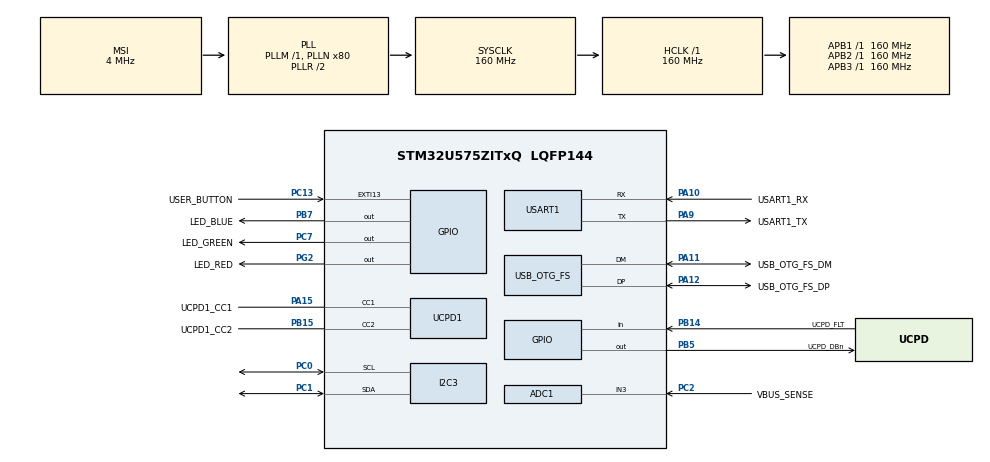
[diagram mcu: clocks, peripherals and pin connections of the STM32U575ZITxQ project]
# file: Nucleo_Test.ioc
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ADC1.NbrOfConversion=1
ADC1.Resolution=ADC_RESOLUTION_14B
ADC1.master=1
CORTEX_M33_NS.userName=CORTEX_M33
I2C3.Timing=0x30909DEC
Mcu.Family=STM32U5
Mcu.Name=STM32U575ZITxQ
Mcu.Package=LQFP144
NVIC.OTG_FS_IRQn=true\:0\:0\:false\:false\:true\:true\:true\:true
NVIC.PriorityGroup=NVIC_PRIORITYGROUP_3
PA10.GPIO_Label=USART1_RX
PA10.GPIO_PuPd=GPIO_PULLDOWN
PA10.GPIO_Speed=GPIO_SPEED_FREQ_VERY_HIGH
PA10.Mode=Asynchronous
PA10.Signal=USART1_RX
PA11.GPIO_Label=USB_OTG_FS_DM
PA11.GPIO_Speed=GPIO_SPEED_FREQ_VERY_HIGH
PA11.Mode=Device_Only
PA11.Signal=USB_OTG_FS_DM
PA12.GPIO_Label=USB_OTG_FS_DP
PA12.GPIO_Speed=GPIO_SPEED_FREQ_VERY_HIGH
PA12.Mode=Device_Only
PA12.Signal=USB_OTG_FS_DP
PA13\ (JTMS/SWDIO).Mode=Trace_Asynchronous_SW
PA13\ (JTMS/SWDIO).Signal=DEBUG_JTMS-SWDIO
PA14\ (JTCK/SWCLK).Mode=Trace_Asynchronous_SW
PA14\ (JTCK/SWCLK).Signal=DEBUG_JTCK-SWCLK
PA15\ (JTDI).GPIO_Label=UCPD1_CC1
PA15\ (JTDI).Mode=Sink_AllSignals
PA15\ (JTDI).Signal=UCPD1_CC1
PA9.GPIO_Label=USART1_TX
PA9.GPIO_PuPd=GPIO_PULLDOWN
PA9.GPIO_Speed=GPIO_SPEED_FREQ_VERY_HIGH
PA9.Mode=Asynchronous
PA9.Signal=USART1_TX
PB14.GPIO_Label=UCPD_FLT
PB14.Signal=GPIO_Input
PB15.GPIO_Label=UCPD1_CC2
PB15.Mode=Sink_AllSignals
PB15.Signal=UCPD1_CC2
PB3\ (JTDO/TRACESWO).Mode=Trace_Asynchronous_SW
PB3\ (JTDO/TRACESWO).Signal=DEBUG_JTDO-SWO
PB5.GPIO_Label=UCPD_DBn
PB5.Signal=GPIO_Output
PB7.GPIO_Label=LED_BLUE
PB7.GPIO_ModeDefaultOutputPP=GPIO_MODE_OUTPUT_PP
PB7.GPIO_PuPd=GPIO_PULLUP
PB7.GPIO_Speed=GPIO_SPEED_FREQ_HIGH
PB7.Signal=GPIO_Output
PC0.Mode=I2C
PC0.Signal=I2C3_SCL
PC1.Mode=I2C
PC1.Signal=I2C3_SDA
PC13.GPIO_Label=USER_BUTTON
PC13.GPIO_ModeDefaultEXTI=GPIO_MODE_IT_FALLING
PC13.Signal=GPXTI13
PC14-OSC32_IN\ (PC14).Mode=LSE-External-Oscillator
PC14-OSC32_IN\ (PC14).Signal=RCC_OSC32_IN
PC15-OSC32_OUT\ (PC15).Mode=LSE-External-Oscillator
PC15-OSC32_OUT\ (PC15).Signal=RCC_OSC32_OUT
PC2.GPIO_Label=VBUS_SENSE
PC2.Mode=IN3-Single-Ended
PC2.Signal=ADC1_IN3
PC7.GPIO_Label=LED_GREEN
PC7.GPIO_PuPd=GPIO_PULLUP
PC7.GPIO_Speed=GPIO_SPEED_FREQ_HIGH
PC7.Signal=GPIO_Output
PG2.GPIO_Label=LED_RED
PG2.GPIO_ModeDefaultOutputPP=GPIO_MODE_OUTPUT_PP
PG2.GPIO_PuPd=GPIO_PULLUP
PG2.GPIO_Speed=GPIO_SPEED_FREQ_HIGH
PG2.Signal=GPIO_Output
PH0-OSC_IN\ (PH0).Mode=HSE-External-Oscillator
PH0-OSC_IN\ (PH0).Signal=RCC_OSC_IN
PH1-OSC_OUT\ (PH1).Mode=HSE-External-Oscillator
PH1-OSC_OUT\ (PH1).Signal=RCC_OSC_OUT
PWR.PowerMode=PWR_SMPS_SUPPLY
ProjectManager.HeapSize=0x200
ProjectManager.StackSize=0x400
ProjectManager.TargetToolchain=STM32CubeIDE
RCC.ADCFreq_Value=16000000
RCC.AHBFreq_Value=160000000
RCC.APB1Freq_Value=160000000
RCC.APB1TimFreq_Value=160000000
RCC.APB2Freq_Value=160000000
RCC.APB2TimFreq_Value=160000000
RCC.APB3Freq_Value=160000000
RCC.CortexFreq_Value=160000000
RCC.DACCLockSelectionVirtual=RCC_DAC1CLKSOURCE_LSI
RCC.EPOD_VALUE=4000000
RCC.HCLKFreq_Value=160000000
RCC.HSE_VALUE=16000000
RCC.HSI48_VALUE=48000000
RCC.HSI_VALUE=16000000
RCC.LSIDIV_VALUE=32000
RCC.MSI_VALUE=4000000
RCC.PLLN=80
RCC.SYSCLKFreq_VALUE=160000000
RCC.SYSCLKSource=RCC_SYSCLKSOURCE_PLLCLK
RCC.USBFreq_Value=48000000
RCC.VCOOutputFreq_Value=320000000
USART1.VirtualMode-Asynchronous=VM_ASYNC
USB_OTG_FS.VirtualMode=Device_Only
VP_ICACHE_VS_ENABLE_ICACHE_MEMORY.Mode=Memoryregions
VP_ICACHE_VS_ICACHE.Mode=DirectMappedCache
VP_LPBAMQUEUE_VS_QUEUE.Mode=QUEUEMODE
VP_LPBAM_VS_SIG1.Mode=SmartRun
VP_LPBAM_VS_SIG4.Mode=LPDMA1
VP_MEMORYMAP_VS_MEMORYMAP.Mode=CurAppReg
VP_PWR_VS_DBSignals.Mode=DisableDeadBatterySignals
VP_PWR_VS_LPOM.Mode=PowerOptimisation
VP_PWR_VS_SECSignals.Mode=Security/Privilege
VP_PWR_Vdda.Mode=isolationVdda
board=NUCLEO-U575ZI-Q

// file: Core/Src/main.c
/* USER CODE BEGIN Header */
/**
  ******************************************************************************
  * @file           : main.c
  * @brief          : Main program body
  ******************************************************************************
  * @attention
  *
  * Copyright (c) 2024 STMicroelectronics.
  * All rights reserved.
  *
  * This software is licensed under terms that can be found in the LICENSE file
  * in the root directory of this software component.
  * If no LICENSE file comes with this software, it is provided AS-IS.
  *
  ******************************************************************************
  */
/* USER CODE END Header */
#include "main.h"

/* USER CODE BEGIN Includes */
#include "TJ_MPU6050.h"
#include <stdio.h>

/* Private includes ----------------------------------------------------------*/
/* USER CODE BEGIN Includes */

/* USER CODE END Includes */

ADC_HandleTypeDef hadc1;

I2C_HandleTypeDef hi2c3;

UART_HandleTypeDef huart1;

PCD_HandleTypeDef hpcd_USB_OTG_FS;

void SystemClock_Config(void);
static void SystemPower_Config(void);
static void MX_GPIO_Init(void);
static void MX_ADC1_Init(void);
static void MX_ICACHE_Init(void);
static void MX_UCPD1_Init(void);
static void MX_USB_OTG_FS_PCD_Init(void);
static void MX_I2C3_Init(void);
static void MX_USART1_UART_Init(void);

/* USER CODE BEGIN 0 */
RawData_Def myAccelRaw, myGyroRaw;
ScaledData_Def myAccelScaled, myGyroScaled;
/* USER CODE END 0 */

int main(void)
{

  /* USER CODE BEGIN 1 */
	MPU_ConfigTypeDef myMpuConfig;

  /* USER CODE END 1 */

  /* MCU Configuration--------------------------------------------------------*/

  /* Reset of all peripherals, Initializes the Flash interface and the Systick. */
  HAL_Init();

  /* Configure the system clock */
  SystemClock_Config();

  /* Configure the System Power */
  SystemPower_Config();

  /* Initialize all configured peripherals */
  MX_GPIO_Init();
  MX_ADC1_Init();
  MX_ICACHE_Init();
  MX_UCPD1_Init();
  MX_USB_OTG_FS_PCD_Init();
  MX_I2C3_Init();
  MX_USART1_UART_Init();
  /* USER CODE BEGIN 2 */
  MPU6050_Init(&hi2c3);

  myMpuConfig.Accel_Full_Scale = AFS_SEL_4g;
  myMpuConfig.CONFIG_DLPF = DLPF_184A_188G_Hz;
  myMpuConfig.ClockSource = Internal_8MHz;
  myMpuConfig.Gyro_Full_Scale = FS_SEL_500;
  myMpuConfig.Sleep_Mode_Bit = 0;
  MPU6050_Config(&myMpuConfig);
  /* USER CODE END 2 */

  /* Infinite loop */
  /* USER CODE BEGIN WHILE */
  while (1)
  {
   // MPU6050_Get_Accel_RawData(&myAccelRaw);
   // MPU6050_Get_Gyro_RawData(&myGyroRaw);

    MPU6050_Get_Accel_Scale(&myAccelScaled);
    MPU6050_Get_Gyro_Scale(&myGyroScaled);

    char buffer[128];
    int length = sprintf(buffer, "%.2f %.2f %.2f %.2f %.2f %.2f\r\n",
                         myAccelScaled.x, myAccelScaled.y, myAccelScaled.z,
                         myGyroScaled.x, myGyroScaled.y, myGyroScaled.z);

    HAL_UART_Transmit(&huart1, (uint8_t*)buffer, length, HAL_MAX_DELAY);

    HAL_Delay(100);  // delay to prevent flooding the UART
    /* USER CODE END WHILE */

  }
}

void SystemClock_Config(void)
{
  RCC_OscInitTypeDef RCC_OscInitStruct = {0};
  RCC_ClkInitTypeDef RCC_ClkInitStruct = {0};

  /** Configure the main internal regulator output voltage
  */
  if (HAL_PWREx_ControlVoltageScaling(PWR_REGULATOR_VOLTAGE_SCALE1) != HAL_OK)
  {
    Error_Handler();
  }

  /** Initializes the CPU, AHB and APB buses clocks
  */
  RCC_OscInitStruct.OscillatorType = RCC_OSCILLATORTYPE_HSI48|RCC_OSCILLATORTYPE_HSI
                              |RCC_OSCILLATORTYPE_MSI;
  RCC_OscInitStruct.HSIState = RCC_HSI_ON;
  RCC_OscInitStruct.HSI48State = RCC_HSI48_ON;
  RCC_OscInitStruct.HSICalibrationValue = RCC_HSICALIBRATION_DEFAULT;
  RCC_OscInitStruct.MSIState = RCC_MSI_ON;
  RCC_OscInitStruct.MSICalibrationValue = RCC_MSICALIBRATION_DEFAULT;
  RCC_OscInitStruct.MSIClockRange = RCC_MSIRANGE_4;
  RCC_OscInitStruct.PLL.PLLState = RCC_PLL_ON;
  RCC_OscInitStruct.PLL.PLLSource = RCC_PLLSOURCE_MSI;
  RCC_OscInitStruct.PLL.PLLMBOOST = RCC_PLLMBOOST_DIV1;
  RCC_OscInitStruct.PLL.PLLM = 1;
  RCC_OscInitStruct.PLL.PLLN = 80;
  RCC_OscInitStruct.PLL.PLLP = 2;
  RCC_OscInitStruct.PLL.PLLQ = 2;
  RCC_OscInitStruct.PLL.PLLR = 2;
  RCC_OscInitStruct.PLL.PLLRGE = RCC_PLLVCIRANGE_0;
  RCC_OscInitStruct.PLL.PLLFRACN = 0;
  if (HAL_RCC_OscConfig(&RCC_OscInitStruct) != HAL_OK)
  {
    Error_Handler();
  }

  /** Initializes the CPU, AHB and APB buses clocks
  */
  RCC_ClkInitStruct.ClockType = RCC_CLOCKTYPE_HCLK|RCC_CLOCKTYPE_SYSCLK
                              |RCC_CLOCKTYPE_PCLK1|RCC_CLOCKTYPE_PCLK2
                              |RCC_CLOCKTYPE_PCLK3;
  RCC_ClkInitStruct.SYSCLKSource = RCC_SYSCLKSOURCE_PLLCLK;
  RCC_ClkInitStruct.AHBCLKDivider = RCC_SYSCLK_DIV1;
  RCC_ClkInitStruct.APB1CLKDivider = RCC_HCLK_DIV1;
  RCC_ClkInitStruct.APB2CLKDivider = RCC_HCLK_DIV1;
  RCC_ClkInitStruct.APB3CLKDivider = RCC_HCLK_DIV1;

  if (HAL_RCC_ClockConfig(&RCC_ClkInitStruct, FLASH_LATENCY_4) != HAL_OK)
  {
    Error_Handler();
  }
}

/**
  * @brief Power Configuration
  * @retval None
  */
static void SystemPower_Config(void)
{
  HAL_PWREx_EnableVddIO2();

  /*
   * Switch to SMPS regulator instead of LDO
   */
  if (HAL_PWREx_ConfigSupply(PWR_SMPS_SUPPLY) != HAL_OK)
  {
    Error_Handler();
  }
}

static void MX_ADC1_Init(void)
{

  /** Common config
  */
  hadc1.Instance = ADC1;
  hadc1.Init.ClockPrescaler = ADC_CLOCK_ASYNC_DIV1;
  hadc1.Init.Resolution = ADC_RESOLUTION_14B;
  hadc1.Init.GainCompensation = 0;
  hadc1.Init.ScanConvMode = ADC_SCAN_DISABLE;
  hadc1.Init.EOCSelection = ADC_EOC_SINGLE_CONV;
  hadc1.Init.LowPowerAutoWait = DISABLE;
  hadc1.Init.ContinuousConvMode = DISABLE;
  hadc1.Init.NbrOfConversion = 1;
  hadc1.Init.DiscontinuousConvMode = DISABLE;
  hadc1.Init.DMAContinuousRequests = DISABLE;
  hadc1.Init.TriggerFrequencyMode = ADC_TRIGGER_FREQ_HIGH;
  hadc1.Init.Overrun = ADC_OVR_DATA_PRESERVED;
  hadc1.Init.LeftBitShift = ADC_LEFTBITSHIFT_NONE;
  hadc1.Init.ConversionDataManagement = ADC_CONVERSIONDATA_DR;
  hadc1.Init.OversamplingMode = DISABLE;
  if (HAL_ADC_Init(&hadc1) != HAL_OK)
  {
    Error_Handler();
  }

}

static void MX_I2C3_Init(void)
{

  hi2c3.Instance = I2C3;
  hi2c3.Init.Timing = 0x30909DEC;
  hi2c3.Init.OwnAddress1 = 0;
  hi2c3.Init.AddressingMode = I2C_ADDRESSINGMODE_7BIT;
  hi2c3.Init.DualAddressMode = I2C_DUALADDRESS_DISABLE;
  hi2c3.Init.OwnAddress2 = 0;
  hi2c3.Init.OwnAddress2Masks = I2C_OA2_NOMASK;
  hi2c3.Init.GeneralCallMode = I2C_GENERALCALL_DISABLE;
  hi2c3.Init.NoStretchMode = I2C_NOSTRETCH_DISABLE;
  if (HAL_I2C_Init(&hi2c3) != HAL_OK)
  {
    Error_Handler();
  }

  /** Configure Analogue filter
  */
  if (HAL_I2CEx_ConfigAnalogFilter(&hi2c3, I2C_ANALOGFILTER_ENABLE) != HAL_OK)
  {
    Error_Handler();
  }

  /** Configure Digital filter
  */
  if (HAL_I2CEx_ConfigDigitalFilter(&hi2c3, 0) != HAL_OK)
  {
    Error_Handler();
  }

}

static void MX_ICACHE_Init(void)
{

  /** Enable instruction cache in 1-way (direct mapped cache)
  */
  if (HAL_ICACHE_ConfigAssociativityMode(ICACHE_1WAY) != HAL_OK)
  {
    Error_Handler();
  }
  if (HAL_ICACHE_Enable() != HAL_OK)
  {
    Error_Handler();
  }

}

static void MX_UCPD1_Init(void)
{

  LL_GPIO_InitTypeDef GPIO_InitStruct = {0};

  /* Peripheral clock enable */
  LL_APB1_GRP2_EnableClock(LL_APB1_GRP2_PERIPH_UCPD1);

  LL_AHB2_GRP1_EnableClock(LL_AHB2_GRP1_PERIPH_GPIOB);
  LL_AHB2_GRP1_EnableClock(LL_AHB2_GRP1_PERIPH_GPIOA);
  /**UCPD1 GPIO Configuration
  PB15   ------> UCPD1_CC2
  PA15 (JTDI)   ------> UCPD1_CC1
  */
  GPIO_InitStruct.Pin = LL_GPIO_PIN_15;
  GPIO_InitStruct.Mode = LL_GPIO_MODE_ANALOG;
  GPIO_InitStruct.Pull = LL_GPIO_PULL_NO;
  LL_GPIO_Init(GPIOB, &GPIO_InitStruct);

  GPIO_InitStruct.Pin = LL_GPIO_PIN_15;
  GPIO_InitStruct.Mode = LL_GPIO_MODE_ANALOG;
  GPIO_InitStruct.Pull = LL_GPIO_PULL_NO;
  LL_GPIO_Init(GPIOA, &GPIO_InitStruct);

}

static void MX_USART1_UART_Init(void)
{

  huart1.Instance = USART1;
  huart1.Init.BaudRate = 115200;
  huart1.Init.WordLength = UART_WORDLENGTH_8B;
  huart1.Init.StopBits = UART_STOPBITS_1;
  huart1.Init.Parity = UART_PARITY_NONE;
  huart1.Init.Mode = UART_MODE_TX_RX;
  huart1.Init.HwFlowCtl = UART_HWCONTROL_NONE;
  huart1.Init.OverSampling = UART_OVERSAMPLING_16;
  huart1.Init.OneBitSampling = UART_ONE_BIT_SAMPLE_DISABLE;
  huart1.Init.ClockPrescaler = UART_PRESCALER_DIV1;
  huart1.AdvancedInit.AdvFeatureInit = UART_ADVFEATURE_NO_INIT;
  if (HAL_UART_Init(&huart1) != HAL_OK)
  {
    Error_Handler();
  }
  if (HAL_UARTEx_SetTxFifoThreshold(&huart1, UART_TXFIFO_THRESHOLD_1_8) != HAL_OK)
  {
    Error_Handler();
  }
  if (HAL_UARTEx_SetRxFifoThreshold(&huart1, UART_RXFIFO_THRESHOLD_1_8) != HAL_OK)
  {
    Error_Handler();
  }
  if (HAL_UARTEx_DisableFifoMode(&huart1) != HAL_OK)
  {
    Error_Handler();
  }

}

static void MX_USB_OTG_FS_PCD_Init(void)
{

  hpcd_USB_OTG_FS.Instance = USB_OTG_FS;
  hpcd_USB_OTG_FS.Init.dev_endpoints = 6;
  hpcd_USB_OTG_FS.Init.speed = PCD_SPEED_FULL;
  hpcd_USB_OTG_FS.Init.phy_itface = PCD_PHY_EMBEDDED;
  hpcd_USB_OTG_FS.Init.Sof_enable = DISABLE;
  hpcd_USB_OTG_FS.Init.low_power_enable = DISABLE;
  hpcd_USB_OTG_FS.Init.lpm_enable = DISABLE;
  hpcd_USB_OTG_FS.Init.battery_charging_enable = DISABLE;
  hpcd_USB_OTG_FS.Init.use_dedicated_ep1 = DISABLE;
  hpcd_USB_OTG_FS.Init.vbus_sensing_enable = DISABLE;
  hpcd_USB_OTG_FS.Init.dma_enable = DISABLE;
  if (HAL_PCD_Init(&hpcd_USB_OTG_FS) != HAL_OK)
  {
    Error_Handler();
  }

}

static void MX_GPIO_Init(void)
{
  GPIO_InitTypeDef GPIO_InitStruct = {0};

  /* GPIO Ports Clock Enable */
  __HAL_RCC_GPIOC_CLK_ENABLE();
  __HAL_RCC_GPIOH_CLK_ENABLE();
  __HAL_RCC_GPIOB_CLK_ENABLE();
  __HAL_RCC_GPIOG_CLK_ENABLE();
  __HAL_RCC_GPIOA_CLK_ENABLE();

  /*Configure GPIO pin Output Level */
  HAL_GPIO_WritePin(LED_RED_GPIO_Port, LED_RED_Pin, GPIO_PIN_RESET);

  /*Configure GPIO pin Output Level */
  HAL_GPIO_WritePin(LED_GREEN_GPIO_Port, LED_GREEN_Pin, GPIO_PIN_RESET);

  /*Configure GPIO pin Output Level */
  HAL_GPIO_WritePin(GPIOB, UCPD_DBn_Pin|LED_BLUE_Pin, GPIO_PIN_RESET);

  /*Configure GPIO pin : USER_BUTTON_Pin */
  GPIO_InitStruct.Pin = USER_BUTTON_Pin;
  GPIO_InitStruct.Mode = GPIO_MODE_IT_FALLING;
  GPIO_InitStruct.Pull = GPIO_NOPULL;
  HAL_GPIO_Init(USER_BUTTON_GPIO_Port, &GPIO_InitStruct);

  /*Configure GPIO pin : UCPD_FLT_Pin */
  GPIO_InitStruct.Pin = UCPD_FLT_Pin;
  GPIO_InitStruct.Mode = GPIO_MODE_INPUT;
  GPIO_InitStruct.Pull = GPIO_NOPULL;
  HAL_GPIO_Init(UCPD_FLT_GPIO_Port, &GPIO_InitStruct);

  /*Configure GPIO pin : LED_RED_Pin */
  GPIO_InitStruct.Pin = LED_RED_Pin;
  GPIO_InitStruct.Mode = GPIO_MODE_OUTPUT_PP;
  GPIO_InitStruct.Pull = GPIO_PULLUP;
  GPIO_InitStruct.Speed = GPIO_SPEED_FREQ_HIGH;
  HAL_GPIO_Init(LED_RED_GPIO_Port, &GPIO_InitStruct);

  /*Configure GPIO pin : LED_GREEN_Pin */
  GPIO_InitStruct.Pin = LED_GREEN_Pin;
  GPIO_InitStruct.Mode = GPIO_MODE_OUTPUT_PP;
  GPIO_InitStruct.Pull = GPIO_PULLUP;
  GPIO_InitStruct.Speed = GPIO_SPEED_FREQ_HIGH;
  HAL_GPIO_Init(LED_GREEN_GPIO_Port, &GPIO_InitStruct);

  /*Configure GPIO pin : UCPD_DBn_Pin */
  GPIO_InitStruct.Pin = UCPD_DBn_Pin;
  GPIO_InitStruct.Mode = GPIO_MODE_OUTPUT_PP;
  GPIO_InitStruct.Pull = GPIO_NOPULL;
  GPIO_InitStruct.Speed = GPIO_SPEED_FREQ_LOW;
  HAL_GPIO_Init(UCPD_DBn_GPIO_Port, &GPIO_InitStruct);

  /*Configure GPIO pin : LED_BLUE_Pin */
  GPIO_InitStruct.Pin = LED_BLUE_Pin;
  GPIO_InitStruct.Mode = GPIO_MODE_OUTPUT_PP;
  GPIO_InitStruct.Pull = GPIO_PULLUP;
  GPIO_InitStruct.Speed = GPIO_SPEED_FREQ_HIGH;
  HAL_GPIO_Init(LED_BLUE_GPIO_Port, &GPIO_InitStruct);

}

void Error_Handler(void)
{
  __disable_irq();
  while (1)
  {
  }
}
